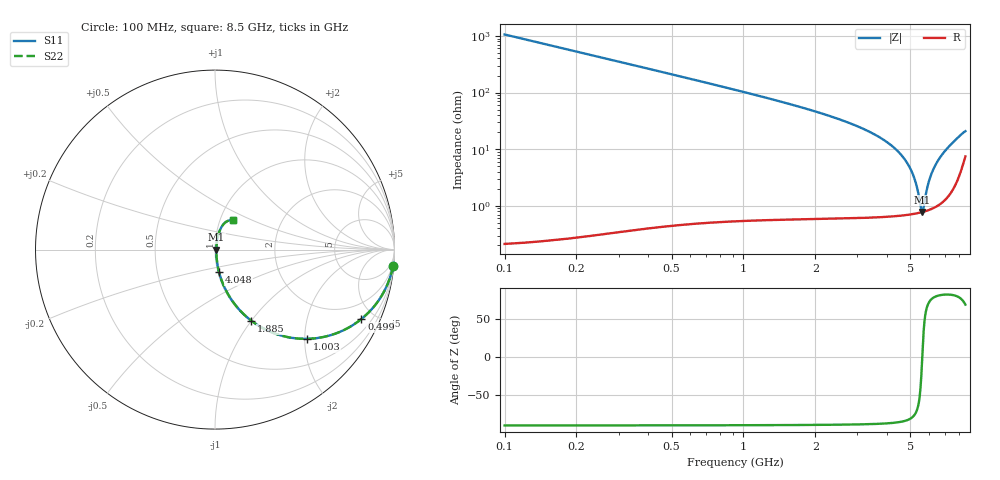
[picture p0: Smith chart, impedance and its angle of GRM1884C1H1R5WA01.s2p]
!Murata Part Number: GRM1884C1H1R5WA01
!These Parameters are Measured in Series Mode Connection
!Data Generated on Mar 30, 2021
!  o--ll--o
!Port1  Port2
!  o------o
!Operation Temp=25[degC], DC Bias Voltage=0[V]
!Freq. Start=100[MHz] Stop=9[GHz] 401[Steps]
# Hz S RI R 50
!Freq.(Hz) S11(Real) S11(Imag) S21(Real) S21(Imag) S12(Real) S12(Imag) S22(Real) S22(Imag)
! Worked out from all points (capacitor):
!   401 points, 100 MHz to 8.5 GHz, reference 50 ohm
!   read as one part in series: C = 1.5 pF near 142 MHz
!   lowest |Z| = 777 mohm at 5.602 GHz (marker M1)
!   series resonance near 5.607 GHz, so ESL is about 540 pH
!   S11 on the Smith chart (normalised r, x): 100 MHz: 1, -21; 499 MHz: 1.01, -4.22; 1.003 GHz: 1.01, -2.05; 1.885 GHz: 1.01, -1.00; 4.048 GHz: 1.01, -0.26; 8.5 GHz: 1.15, +0.39
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1e8  0.9912 -0.0935  0.00883 0.0935  0.00883 0.0935  0.9912 -0.0935
2.68e8  0.9396 -0.2379  0.0604 0.2379  0.0604 0.2379  0.9396 -0.2379
4.99e8  0.8158 -0.3866  0.1842 0.3866  0.1842 0.3866  0.8158 -0.3866
7.3e8  0.6704 -0.4683  0.3296 0.4683  0.3296 0.4683  0.6704 -0.4683
1.003e9  0.5117 -0.4972  0.4883 0.4972  0.4883 0.4972  0.5117 -0.4972
1.507e9  0.301 -0.4544  0.699 0.4544  0.699 0.4544  0.301 -0.4544
1.885e9  0.203 -0.3964  0.797 0.3964  0.797 0.3964  0.203 -0.3964
2.914e9  0.0718 -0.247  0.9282 0.247  0.9282 0.247  0.0718 -0.247
4.048e9  0.0221 -0.1241  0.9779 0.1241  0.9779 0.1241  0.0221 -0.1241
4.3e9  0.017 -0.1013  0.983 0.1013  0.983 0.1013  0.017 -0.1013
4.762e9  0.0108 -0.0627  0.9892 0.0627  0.9892 0.0627  0.0108 -0.0627
5.098e9  0.00845 -0.0367  0.9915 0.0367  0.9915 0.0367  0.00845 -0.0367
5.308e9  0.00777 -0.0212  0.9922 0.0212  0.9922 0.0212  0.00777 -0.0212
5.539e9  0.00764 -0.00473  0.9924 0.00473  0.9924 0.00473  0.00764 -0.00473
5.602e9  0.0077 -0.000331  0.9923 0.000331  0.9923 0.000331  0.0077 -0.000331
5.707e9  0.00792 0.00692  0.9921 -0.00692  0.9921 -0.00692  0.00792 0.00692
5.917e9  0.00871 0.0211  0.9913 -0.0211  0.9913 -0.0211  0.00871 0.0211
6.19e9  0.0104 0.0391  0.9896 -0.0391  0.9896 -0.0391  0.0104 0.0391
6.589e9  0.0145 0.0647  0.9855 -0.0647  0.9855 -0.0647  0.0145 0.0647
7.114e9  0.0233 0.0975  0.9767 -0.0975  0.9767 -0.0975  0.0233 0.0975
7.891e9  0.05 0.1446  0.95 -0.1446  0.95 -0.1446  0.05 0.1446
8.5e9  0.099 0.1631  0.901 -0.1631  0.901 -0.1631  0.099 0.1631
